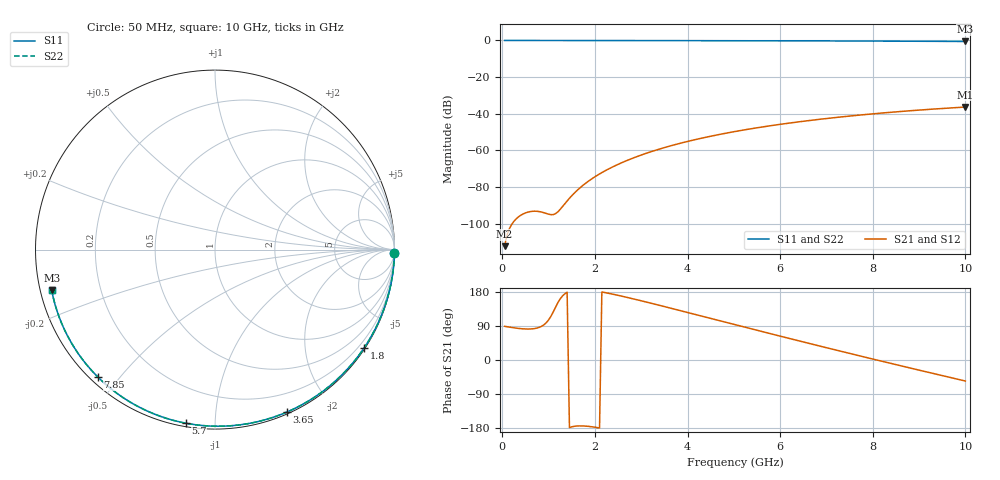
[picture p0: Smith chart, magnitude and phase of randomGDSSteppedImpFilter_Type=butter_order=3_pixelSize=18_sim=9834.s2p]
! freq	dB(S11)	phase(S11)	dB(S12)	phase(S12)
!  dB(S21)	phase(S21)	dB(S22)	phase(S22)
!S-par simulation data
#  GHz  S  DB  R 50
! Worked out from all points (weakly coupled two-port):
!   200 points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, 50 MHz to 10 GHz, reference 50 ohm
!   highest |S21| = -36.35 dB at 10 GHz (marker M1); lowest = -112.3 dB at 50 MHz (marker M2)
!   lowest |S11| = -0.6 dB at 10 GHz (marker M3), VSWR 31.11, Z = 1.63 - j6.11 ohm
!   |S11| at or under -10 dB: nowhere
!   |S22| runs from -0.6 to 0.0 dB; largest |S21 - S12| = 0
!   S11 on the Smith chart (normalised r, x): 50 MHz: open; 1.8 GHz: 0.03, -3.32; 3.65 GHz: 0.02, -1.54; 5.7 GHz: 0.02, -0.84; 7.85 GHz: 0.02, -0.44; 10 GHz: 0.03, -0.12
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0.05  -0.00 -0.9  -112.27 88.9  -112.27 88.9  -0.00 -0.9
0.45  -0.01 -8.5  -94.68 82.2  -94.68 82.2  -0.01 -8.5
0.85  -0.02 -16.0  -93.66 89.0  -93.66 89.0  -0.02 -16.0
1.65  -0.04 -30.8  -81.04 -173.9  -81.04 -173.9  -0.04 -30.8
1.7  -0.04 -31.7  -79.94 -173.9  -79.94 -173.9  -0.04 -31.7
1.75  -0.04 -32.6  -78.91 -174.0  -78.91 -174.0  -0.04 -32.6
1.8  -0.04 -33.5  -77.92 -174.4  -77.92 -174.4  -0.04 -33.5
2.1  -0.05 -39.0  -72.85 -179.4  -72.85 -179.4  -0.05 -39.0
2.3  -0.05 -42.6  -70.07 175.9  -70.07 175.9  -0.05 -42.6
2.5  -0.06 -46.1  -67.62 170.7  -67.62 170.7  -0.06 -46.1
2.9  -0.07 -53.2  -63.45 159.2  -63.45 159.2  -0.07 -53.2
3.4  -0.08 -61.9  -59.22 144.1  -59.22 144.1  -0.08 -61.9
3.65  -0.09 -66.1  -57.40 136.4  -57.40 136.4  -0.09 -66.1
4.3  -0.11 -77.0  -53.35 116.0  -53.35 116.0  -0.11 -77.0
5.05  -0.14 -89.3  -49.58 92.5  -49.58 92.5  -0.14 -89.3
5.7  -0.17 -99.6  -46.88 72.2  -46.88 72.2  -0.17 -99.6
6.7  -0.23 -115.1  -43.48 41.5  -43.48 41.5  -0.23 -115.1
7.25  -0.27 -123.5  -41.91 24.9  -41.91 24.9  -0.27 -123.5
7.85  -0.32 -132.6  -40.40 6.9  -40.40 6.9  -0.32 -132.6
8.35  -0.36 -140.2  -39.28 -7.8  -39.28 -7.8  -0.36 -140.2
9.2  -0.46 -153.3  -37.63 -32.6  -37.63 -32.6  -0.46 -153.3
10  -0.56 -166.0  -36.35 -55.5  -36.35 -55.5  -0.56 -166.0
